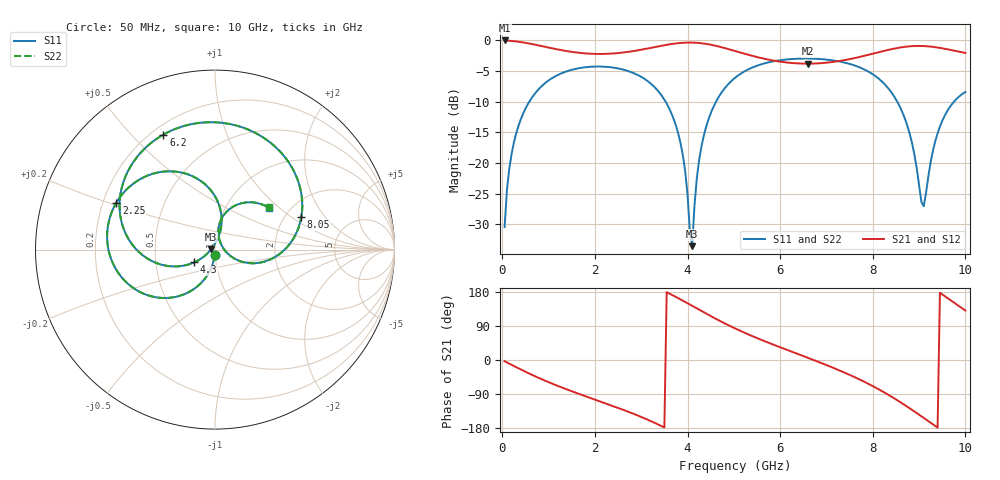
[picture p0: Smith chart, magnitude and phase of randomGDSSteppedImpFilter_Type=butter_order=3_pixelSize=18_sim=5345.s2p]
! freq	dB(S11)	phase(S11)	dB(S12)	phase(S12)
!  dB(S21)	phase(S21)	dB(S22)	phase(S22)
!S-par simulation data
#  GHz  S  DB  R 50
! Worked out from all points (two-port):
!   200 points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, 50 MHz to 10 GHz, reference 50 ohm
!   highest |S21| = -0.01 dB at 50 MHz (marker M1); lowest = -3.8 dB at 6.6 GHz (marker M2)
!   |S21| within 3 dB of the highest: start of sweep to 5.667 GHz; 7.531 GHz to end of sweep
!   lowest |S11| = -33.6 dB at 4.1 GHz (marker M3), VSWR 1.04, Z = 48 + j0.408 ohm
!   |S11| at or under -10 dB: start of sweep to 583.3 MHz; 3.526 GHz to 4.616 GHz (1.09 GHz wide, 26.8 % of centre); 8.528 GHz to 9.752 GHz (1.224 GHz wide, 13.4 % of centre)
!   |S22| runs from -33.8 to -3.0 dB; largest |S21 - S12| = 0
!   S11 on the Smith chart (normalised r, x): 50 MHz: 0.99, -0.06; 2.25 GHz: 0.25, +0.21; 4.3 GHz: 0.78, -0.11; 6.2 GHz: 0.24, +0.62; 8.05 GHz: 2.43, +1.20; 10 GHz: 1.57, +0.86
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0.05  -30.44 -93.3  -0.01 -3.2  -0.01 -3.2  -30.44 -93.3
0.2  -18.55 -103.2  -0.09 -12.7  -0.09 -12.7  -18.55 -103.2
0.5  -11.13 -121.5  -0.39 -31.0  -0.39 -31.0  -11.13 -121.5
1.05  -6.28 -151.5  -1.25 -61.1  -1.25 -61.1  -6.28 -151.5
1.75  -4.42 176.0  -2.09 -93.6  -2.09 -93.6  -4.42 176.0
2.25  -4.31 154.5  -2.19 -115.3  -2.19 -115.3  -4.31 154.4
3.4  -8.59 99.3  -0.93 -172.1  -0.93 -172.1  -8.59 99.1
3.85  -16.80 75.7  -0.42 159.8  -0.42 159.8  -16.80 75.3
4.1  -33.56 168.3  -0.36 143.0  -0.36 143.0  -33.76 168.8
4.2  -22.52 -147.8  -0.39 136.1  -0.39 136.1  -22.54 -147.5
4.3  -17.32 -148.5  -0.46 129.3  -0.46 129.3  -17.33 -148.4
5.05  -5.96 170.2  -1.78 82.0  -1.78 82.0  -5.96 170.1
6.2  -3.07 114.1  -3.65 24.3  -3.65 24.3  -3.07 114.0
6.6  -2.96 96.0  -3.79 5.7  -3.79 5.7  -2.96 95.8
6.7  -2.97 91.4  -3.78 1.0  -3.78 1.0  -2.98 91.2
7.45  -3.73 54.8  -3.13 -36.5  -3.13 -36.5  -3.73 54.5
8.05  -5.78 20.7  -2.07 -72.1  -2.07 -72.1  -5.79 20.5
8.35  -7.96 1.8  -1.52 -92.8  -1.52 -92.8  -7.96 1.5
8.75  -14.01 -22.0  -1.00 -123.6  -1.00 -123.6  -14.01 -22.2
9.1  -27.06 37.8  -0.92 -152.8  -0.92 -152.8  -27.11 37.7
9.45  -14.06 75.8  -1.22 177.3  -1.22 177.3  -14.06 75.8
10  -8.41 38.1  -2.04 130.5  -2.04 130.5  -8.40 38.2
